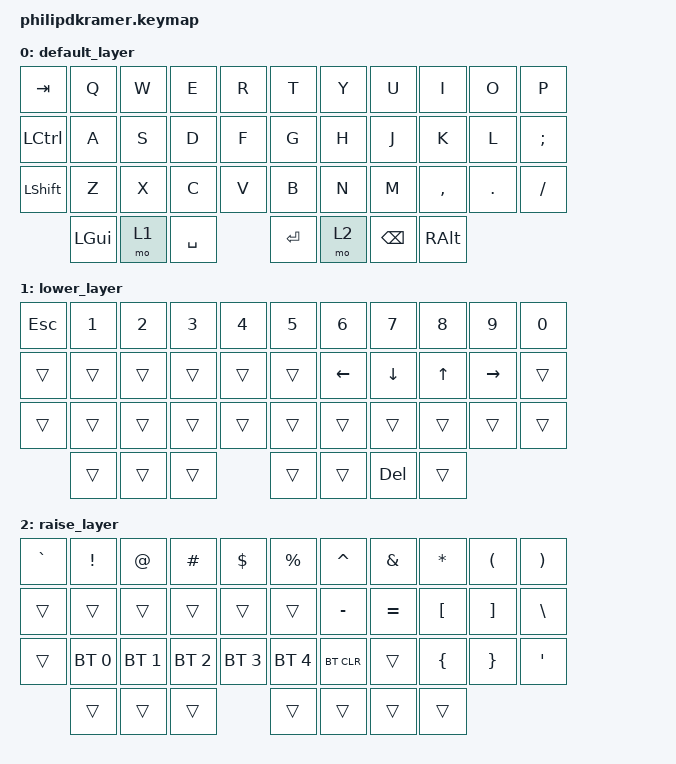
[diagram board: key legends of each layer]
/*
 * Copyright (c) 2023 The ZMK Contributors
 *
 * SPDX-License-Identifier: MIT
 */

#include <behaviors.dtsi>
#include <dt-bindings/zmk/keys.h>
#include <dt-bindings/zmk/bt.h>
#include <dt-bindings/zmk/outputs.h>

/ {
    keymap {
        compatible = "zmk,keymap";

        default_layer {
            // -----------------------------------------------------------------------------------------
            // |  TAB |  Q  |  W  |  E  |  R  |  T  |  Y  |  U   |  I  |  O  |  P  |
            // | CTRL |  A  |  S  |  D  |  F  |  G  |  H  |  J   |  K  |  L  |  ;  |
            // | SHFT |  Z  |  X  |  C  |  V  |  B  |  N  |  M   |  ,  |  .  |  /  |
            //              | GUI | LWR | SPC | ENT | RSE | BKSP | ALT |
            bindings = <
                &kp TAB   &kp Q &kp W &kp E &kp R &kp T &kp Y &kp U  &kp I     &kp O   &kp P
                &kp LCTRL &kp A &kp S &kp D &kp F &kp G &kp H &kp J  &kp K     &kp L   &kp SEMI
                &kp LSHFT &kp Z &kp X &kp C &kp V &kp B &kp N &kp M  &kp COMMA &kp DOT &kp SLASH
                          &kp LGUI &mo 1 &kp SPACE &kp RET &mo 2 &kp BSPC &kp RALT
            >;
        };

        lower_layer {
            // -----------------------------------------------------------------------------------------
            // |  ESC |  1  |  2  |  3  |  4  |  5  |  6  |  7  |  8  |  9  |  0  |
            // |      |     |     |     |     |     | LFT | DWN |  UP | RGT |     |
            // |      |     |     |     |     |     |     |     |     |     |     |
            //              |     |     |     |     |     | DEL |     |
            bindings = <
                &kp ESC  &kp N1 &kp N2 &kp N3 &kp N4 &kp N5 &kp N6   &kp N7   &kp N8 &kp N9    &kp N0
                &trans   &trans &trans &trans &trans &trans &kp LEFT &kp DOWN &kp UP &kp RIGHT &trans
                &trans   &trans &trans &trans &trans &trans &trans   &trans   &trans &trans    &trans
                         &trans &trans &trans &trans &trans &kp DEL  &trans
            >;
        };

        raise_layer {
            // -----------------------------------------------------------------------------------------
            // |  `   |  !  |  @  |  #  |  $  |  %  |  ^  |  &  |  *  |  (  |  )  |
            // |      |     |     |     |     |     |  -  |  =  |  [  |  ]  |  \  |
            // |      | BT1 | BT2 | BT3 | BT4 | BT5 | BT_CLR |   |  {  |  }  |  '  |
            //              |     |     |     |     |     |     |     |
            bindings = <
                &kp GRAVE &kp EXCL  &kp AT    &kp HASH  &kp DLLR  &kp PRCNT &kp CARET &kp AMPS  &kp ASTRK &kp LPAR &kp RPAR
                &trans    &trans    &trans    &trans    &trans    &trans    &kp MINUS &kp EQUAL &kp LBKT  &kp RBKT &kp BSLH
                &trans    &bt BT_SEL 0 &bt BT_SEL 1 &bt BT_SEL 2 &bt BT_SEL 3 &bt BT_SEL 4 &bt BT_CLR &trans &kp LBRC &kp RBRC &kp SQT
                          &trans    &trans    &trans    &trans    &trans    &trans    &trans
            >;
        };
    };
};
